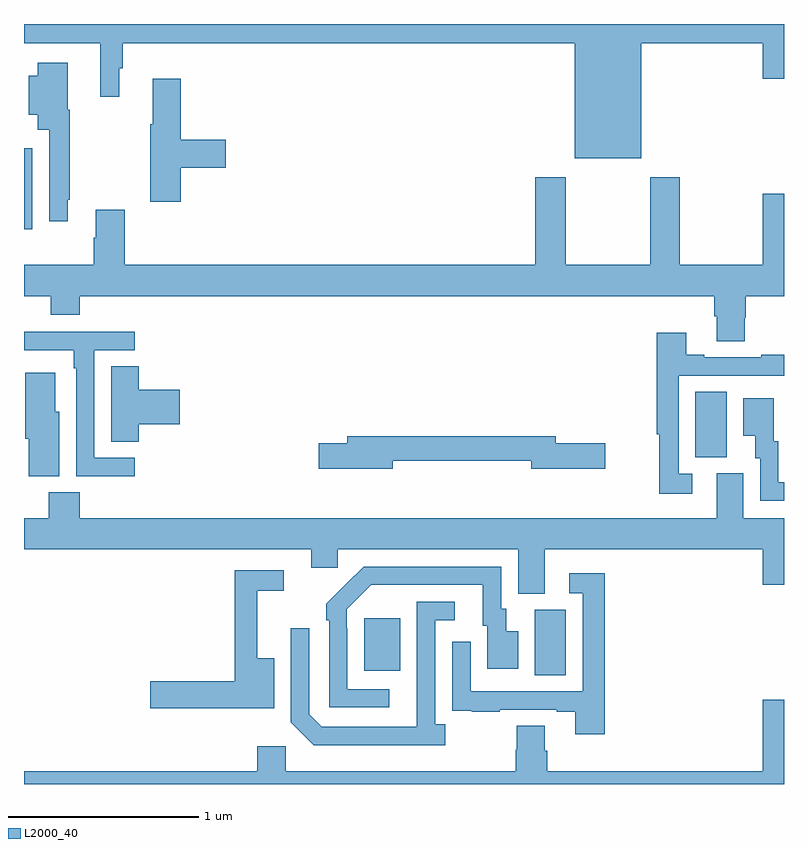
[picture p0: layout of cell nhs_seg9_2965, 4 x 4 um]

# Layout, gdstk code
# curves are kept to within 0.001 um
import gdstk
lib = gdstk.Library(unit=1e-6, precision=1e-09)
def R(c, l, rs):  # rectangles x0, y0, x1, y1
    for r in rs: c.add(gdstk.rectangle(r[:2], r[2:], *l))
def P(c, l, *ps):  # polygons
    for p in ps: c.add(gdstk.Polygon(p, *l))
L2000_40 = (2000, 40)

nhs_seg9_2965 = lib.new_cell('nhs_seg9_2965')
R(nhs_seg9_2965, L2000_40, [(283.688,1213.072,283.852,1213.416), (282.791,1213.097,282.979,1213.372), (284.534,1214.221,284.698,1214.564), (281,1215.42,281.043,1215.847)])
P(nhs_seg9_2965, L2000_40, [(284.248,1216.4),(284.888,1216.4),(284.888,1216.212),(285,1216.212),(285,1216.5),(281,1216.5),(281,1216.4),(281.402,1216.4),(281.402,1216.116),(281.5,1216.116),(281.5,1216.266),(281.519,1216.266),(281.519,1216.4),(283.898,1216.4),(283.898,1215.794),(284.248,1215.794)],
  [(281.23,1215.574),(281.242,1215.574),(281.242,1216.048),(281.23,1216.048),(281.23,1216.297),(281.072,1216.297),(281.072,1216.228),(281.024,1216.228),(281.024,1216.022),(281.072,1216.022),(281.072,1215.944),(281.133,1215.944),(281.133,1215.462),(281.23,1215.462)],
  [(281.825,1215.743),(282.061,1215.743),(282.061,1215.89),(281.825,1215.89),(281.825,1216.213),(281.678,1216.213),(281.678,1215.973),(281.665,1215.973),(281.665,1215.564),(281.825,1215.564)],
  [(284.793,1214.955),(284.798,1214.955),(284.798,1215.068),(285,1215.068),(285,1215.607),(284.888,1215.607),(284.888,1215.232),(284.451,1215.232),(284.451,1215.694),(284.296,1215.694),(284.296,1215.232),(283.851,1215.232),(283.851,1215.694),(283.691,1215.694),(283.691,1215.232),(281.531,1215.232),(281.531,1215.523),(281.378,1215.523),(281.378,1215.374),(281.366,1215.374),(281.366,1215.232),(281,1215.232),(281,1215.068),(281.141,1215.068),(281.141,1214.969),(281.294,1214.969),(281.294,1215.068),(284.633,1215.068),(284.633,1214.962),(284.645,1214.962),(284.645,1214.83),(284.793,1214.83)],
  [(281.584,1214.217),(281.37,1214.217),(281.37,1214.784),(281.584,1214.784),(281.584,1214.88),(281,1214.88),(281,1214.784),(281.262,1214.784),(281.262,1214.687),(281.274,1214.687),(281.274,1214.121),(281.584,1214.121)],
  [(284.518,1214.133),(284.445,1214.133),(284.445,1214.649),(285,1214.649),(285,1214.758),(284.881,1214.758),(284.881,1214.745),(284.581,1214.745),(284.581,1214.758),(284.485,1214.758),(284.485,1214.875),(284.329,1214.875),(284.329,1214.34),(284.344,1214.34),(284.344,1214.028),(284.518,1214.028)],
  [(281.603,1214.393),(281.821,1214.393),(281.821,1214.576),(281.603,1214.576),(281.603,1214.699),(281.459,1214.699),(281.459,1214.302),(281.603,1214.302)],
  [(281.185,1214.46),(281.164,1214.46),(281.164,1214.665),(281.006,1214.665),(281.006,1214.316),(281.024,1214.316),(281.024,1214.121),(281.185,1214.121)],
  [(285,1214.088),(284.971,1214.088),(284.971,1214.304),(284.947,1214.304),(284.947,1214.53),(284.786,1214.53),(284.786,1214.333),(284.849,1214.333),(284.849,1214.214),(284.874,1214.214),(284.874,1213.992),(285,1213.992)],
  [(282.94,1214.202),(283.67,1214.202),(283.67,1214.159),(284.059,1214.159),(284.059,1214.294),(283.798,1214.294),(283.798,1214.33),(282.701,1214.33),(282.701,1214.294),(282.552,1214.294),(282.552,1214.159),(282.94,1214.159)],
  [(282.512,1213.638),(282.651,1213.638),(282.651,1213.736),(283.601,1213.736),(283.601,1213.501),(283.741,1213.501),(283.741,1213.736),(284.888,1213.736),(284.888,1213.548),(285,1213.548),(285,1213.9),(284.785,1213.9),(284.785,1214.136),(284.645,1214.136),(284.645,1213.9),(281.294,1213.9),(281.294,1214.035),(281.129,1214.035),(281.129,1213.9),(281,1213.9),(281,1213.736),(282.512,1213.736)],
  [(282.922,1212.999),(282.702,1212.999),(282.702,1213.319),(282.699,1213.319),(282.699,1213.419),(282.828,1213.548),(283.415,1213.548),(283.415,1213.332),(283.439,1213.332),(283.439,1213.107),(283.6,1213.107),(283.6,1213.303),(283.537,1213.303),(283.537,1213.422),(283.512,1213.422),(283.512,1213.644),(282.788,1213.644),(282.591,1213.449),(282.591,1213.361),(282.606,1213.361),(282.606,1212.903),(282.922,1212.903)],
  [(282.316,1213.162),(282.227,1213.162),(282.227,1213.518),(282.367,1213.518),(282.367,1213.626),(282.109,1213.626),(282.109,1213.04),(281.664,1213.04),(281.664,1212.898),(282.316,1212.898)],
  [(284.057,1213.609),(283.869,1213.609),(283.869,1213.503),(283.941,1213.503),(283.941,1212.987),(283.35,1212.987),(283.35,1213.249),(283.254,1213.249),(283.254,1212.994),(283.255,1212.994),(283.255,1212.885),(283.357,1212.885),(283.357,1212.879),(283.505,1212.879),(283.505,1212.891),(283.805,1212.891),(283.805,1212.879),(283.901,1212.879),(283.901,1212.762),(284.057,1212.762)],
  [(283.216,1212.814),(283.164,1212.814),(283.164,1213.362),(283.267,1213.362),(283.267,1213.458),(283.068,1213.458),(283.067,1212.801),(282.567,1212.801),(282.501,1212.867),(282.501,1213.321),(282.405,1213.321),(282.405,1212.825),(282.526,1212.704),(283.216,1212.704)],
  [(285,1212.943),(284.888,1212.943),(284.888,1212.568),(283.754,1212.568),(283.754,1212.674),(283.741,1212.674),(283.741,1212.806),(283.594,1212.806),(283.594,1212.681),(283.589,1212.681),(283.589,1212.568),(282.378,1212.568),(282.378,1212.7),(282.227,1212.7),(282.227,1212.568),(281,1212.568),(281,1212.5),(285,1212.5)])

lib.write_gds('nhs_seg9_2965.gds')
